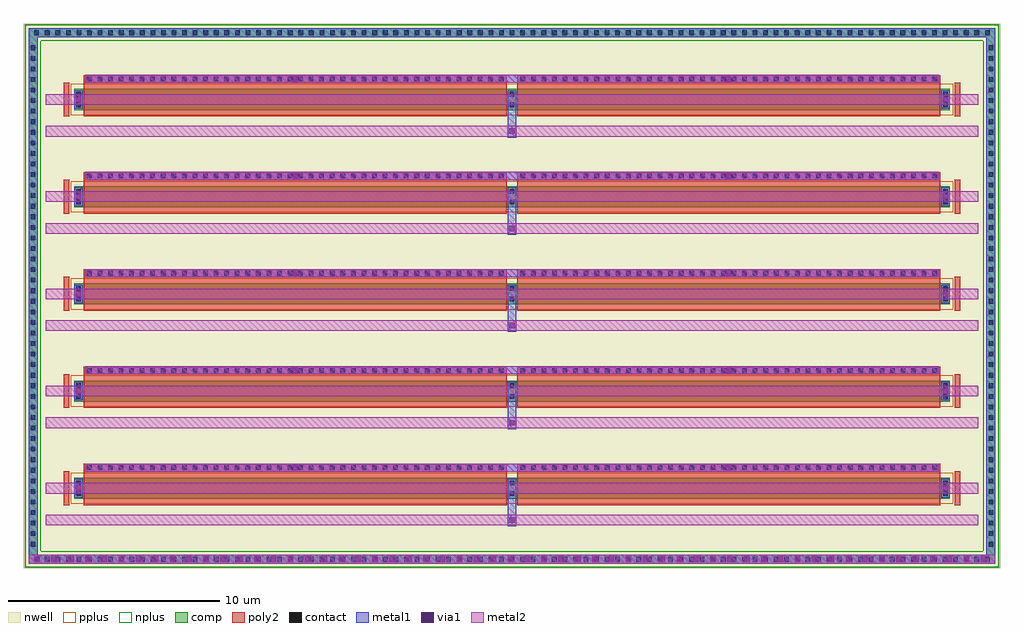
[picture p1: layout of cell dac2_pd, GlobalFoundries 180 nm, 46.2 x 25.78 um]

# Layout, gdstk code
import gdstk
lib = gdstk.Library(unit=1e-6, precision=1e-09)
def R(c, l, rs):  # rectangles x0, y0, x1, y1
    for r in rs: c.add(gdstk.rectangle(r[:2], r[2:], *l))
def A(c, l, x, y, w, h, nx, ny, dx, dy):  # array of equal rectangles
    R(c, l, [(x+i*dx, y+j*dy, x+i*dx+w, y+j*dy+h) for i in range(nx) for j in range(ny)])
nwell = (21, 0)
comp = (22, 0)
poly2 = (30, 0)
pplus = (31, 0)
nplus = (32, 0)
contact = (33, 0)
metal1 = (34, 0)
via1 = (35, 0)
metal2 = (36, 0)

dac2_pd = lib.new_cell('dac2_pd')
R(dac2_pd, nwell, [(-0.22,-0.22,45.98,25.56)])
A(dac2_pd, comp, 2.17, 3.07, 41.42, 1, 1, 5, 0, 4.6)
R(dac2_pd, comp, [(0,0,45.76,0.42), (0,0,0.42,25.34), (45.34,0,45.76,25.34), (0,24.92,45.76,25.34)])
A(dac2_pd, poly2, 1.65, 2.77, 0.28, 1.6, 1, 5, 0, 4.6)
A(dac2_pd, poly2, 2.62, 2.77, 20, 1.96, 1, 5, 0, 4.6)
A(dac2_pd, poly2, 23.14, 2.77, 20, 1.96, 1, 5, 0, 4.6)
A(dac2_pd, poly2, 43.83, 2.77, 0.28, 1.6, 1, 5, 0, 4.6)
A(dac2_pd, pplus, 1.99, 2.83, 41.78, 1.48, 1, 5, 0, 4.6)
R(dac2_pd, nplus, [(-0.16,-0.16,45.92,0.58), (-0.16,-0.16,0.58,25.5), (45.18,-0.16,45.92,25.5), (-0.16,24.76,45.92,25.5)])
A(dac2_pd, contact, 0.27, 0.1, 0.22, 0.22, 91, 2, 0.5, 24.92)
A(dac2_pd, contact, 0.1, 0.81, 0.22, 0.22, 1, 48, 0, 0.5)
A(dac2_pd, contact, 45.44, 0.81, 0.22, 0.22, 1, 48, 0, 0.5)
A(dac2_pd, contact, 2.25, 3.21, 0.22, 0.22, 3, 2, 20.52, 0.5)
A(dac2_pd, contact, 2.76, 4.44, 0.22, 0.22, 40, 5, 0.5, 4.6)
A(dac2_pd, contact, 23.28, 4.44, 0.22, 0.22, 40, 5, 0.5, 4.6)
A(dac2_pd, contact, 2.25, 7.81, 0.22, 0.22, 3, 2, 20.52, 0.5)
A(dac2_pd, contact, 2.25, 12.41, 0.22, 0.22, 3, 2, 20.52, 0.5)
A(dac2_pd, contact, 2.25, 17.01, 0.22, 0.22, 3, 2, 20.52, 0.5)
A(dac2_pd, contact, 2.25, 21.61, 0.22, 0.22, 3, 2, 20.52, 0.5)
A(dac2_pd, metal1, 22.69, 1.77, 0.38, 2.24, 1, 5, 0, 4.6)
A(dac2_pd, metal1, 2.17, 3.13, 0.38, 0.88, 1, 5, 0, 4.6)
A(dac2_pd, metal1, 43.21, 3.13, 0.38, 0.88, 1, 5, 0, 4.6)
A(dac2_pd, metal1, 2.68, 4.36, 40.4, 0.38, 1, 5, 0, 4.6)
R(dac2_pd, metal1, [(0,0,45.76,0.42), (0,0,0.42,25.34), (45.34,0,45.76,25.34), (0,24.92,45.76,25.34)])
A(dac2_pd, via1, 0.27, 0.08, 0.26, 0.26, 57, 1, 0.8, 0)
A(dac2_pd, via1, 22.75, 1.94, 0.26, 0.26, 1, 5, 0, 4.6)
A(dac2_pd, via1, 2.23, 3.44, 0.26, 0.26, 1, 5, 0, 4.6)
A(dac2_pd, via1, 43.27, 3.44, 0.26, 0.26, 1, 5, 0, 4.6)
A(dac2_pd, via1, 12.49, 4.42, 0.26, 0.26, 1, 5, 0, 4.6)
A(dac2_pd, via1, 33.01, 4.42, 0.26, 0.26, 1, 5, 0, 4.6)
A(dac2_pd, metal2, 2.68, 4.36, 40.4, 0.38, 1, 5, 0, 4.6)
R(dac2_pd, metal2, [(0,0,45.76,0.42), (0.82,1.82,44.94,2.32), (0.82,3.32,44.94,3.82), (0.82,6.42,44.94,6.92), (0.82,7.92,44.94,8.42), (0.82,11.02,44.94,11.52), (0.82,12.52,44.94,13.02), (0.82,15.62,44.94,16.12), (0.82,17.12,44.94,17.62), (0.82,20.22,44.94,20.72), (0.82,21.72,44.94,22.22)])

lib.write_gds('dac2_pd.gds')
